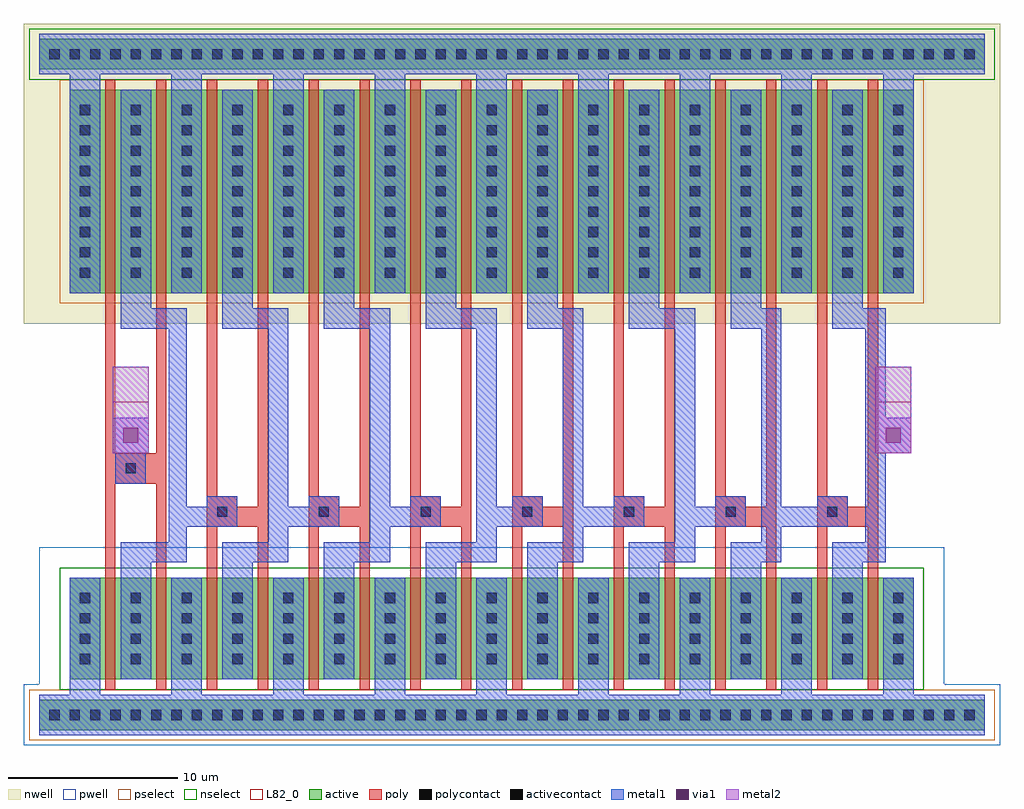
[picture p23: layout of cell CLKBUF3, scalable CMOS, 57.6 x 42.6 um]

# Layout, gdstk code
import gdstk
lib = gdstk.Library(unit=1e-6, precision=1e-09)
def R(c, l, rs):  # rectangles x0, y0, x1, y1
    for r in rs: c.add(gdstk.rectangle(r[:2], r[2:], *l))
def A(c, l, x, y, w, h, nx, ny, dx, dy):  # array of equal rectangles
    R(c, l, [(x+i*dx, y+j*dy, x+i*dx+w, y+j*dy+h) for i in range(nx) for j in range(ny)])
pwell = (41, 0)
nwell = (42, 0)
active = (43, 0)
pselect = (44, 0)
nselect = (45, 0)
poly = (46, 0)
polycontact = (47, 0)
activecontact = (48, 0)
metal1 = (49, 0)
via1 = (50, 0)
metal2 = (51, 0)
L82_0 = (82, 0)

clkbuf3 = lib.new_cell('CLKBUF3')
R(clkbuf3, pwell, [(-1.8,-1.8,55.8,1.8), (-0.9,1.8,52.5,9.9)])
R(clkbuf3, nwell, [(-1.8,23.1,55.8,40.8)])
R(clkbuf3, active, [(-0.9,-0.9,54.9,0.9), (0.9,2.1,50.7,8.1), (0.9,24.9,50.7,36.9), (-0.9,38.1,54.9,39.9)])
R(clkbuf3, pselect, [(-1.5,-1.5,55.5,1.5), (0.3,24.3,51.3,37.5)])
R(clkbuf3, nselect, [(0.3,1.5,51.3,8.7), (-1.5,37.5,55.5,40.5)])
A(clkbuf3, poly, 9, 1.5, 0.6, 9.6, 14, 1, 3, 0)
A(clkbuf3, poly, 9, 11.1, 3.6, 1.2, 7, 1, 6, 0)
A(clkbuf3, poly, 9, 12.3, 1.8, 0.6, 7, 1, 6, 0)
A(clkbuf3, poly, 12, 12.3, 0.6, 25.2, 7, 1, 6, 0)
A(clkbuf3, poly, 9, 12.9, 0.6, 24.6, 7, 1, 6, 0)
R(clkbuf3, poly, [(3,1.5,3.6,13.65), (6,1.5,6.6,13.65), (3,13.65,6.6,15.45), (3,15.45,3.6,37.5), (6,15.45,6.6,37.5)])
A(clkbuf3, polycontact, 9.6, 11.7, 0.6, 0.6, 7, 1, 6, 0)
R(clkbuf3, polycontact, [(4.2,14.25,4.8,14.85)])
A(clkbuf3, activecontact, -0.3, -0.3, 0.6, 0.6, 46, 2, 1.2, 39)
A(clkbuf3, activecontact, 1.5, 3, 0.6, 0.6, 17, 4, 3, 1.2)
A(clkbuf3, activecontact, 1.5, 25.8, 0.6, 0.6, 17, 9, 3, 1.2)
A(clkbuf3, metal1, 0.9, 1.2, 1.8, 6.9, 9, 1, 6, 0)
A(clkbuf3, metal1, 3.9, 2.1, 1.8, 6.9, 8, 1, 6, 0)
A(clkbuf3, metal1, 3.9, 9, 3.9, 1.2, 3, 2, 6, 13.8)
A(clkbuf3, metal1, 9, 12.3, 1.8, 0.6, 7, 1, 6, 0)
A(clkbuf3, metal1, 3.9, 24, 1.8, 12.9, 8, 1, 6, 0)
A(clkbuf3, metal1, 0.9, 24.9, 1.8, 12.9, 9, 1, 6, 0)
R(clkbuf3, metal1, [(-0.9,-1.2,54.9,1.2), (21.9,9,26.1,10.2), (27.9,9,31.2,10.2), (33.9,9,37.8,10.2), (39.9,9,42.9,10.2), (45.9,9,49.05,10.2), (6.75,10.2,7.8,11.1), (12.6,10.2,13.8,11.1), (18.6,10.2,19.8,11.1), (24.9,10.2,26.1,11.1), (30,10.2,31.2,11.1), (36.6,10.2,37.8,11.1), (41.7,10.2,42.9,11.1), (47.85,10.2,49.05,15.45), (6.75,11.1,10.8,12.3), (12.6,11.1,16.8,12.3), (18.6,11.1,22.8,12.3), (24.9,11.1,28.8,12.3), (30,11.1,34.8,12.3), (36.6,11.1,40.8,12.3), (41.7,11.1,46.8,12.3), (6.75,12.3,7.8,22.8), (12.6,12.3,13.8,22.8), (18.6,12.3,19.8,22.8), (24.9,12.3,26.1,22.8), (30,12.3,31.2,22.8), (36.6,12.3,37.8,22.8), (41.7,12.3,42.9,22.8), (3.6,13.65,5.4,15.45), (3.45,15.45,5.55,17.55), (47.85,15.45,50.55,17.55), (47.85,17.55,49.05,22.8), (21.9,22.8,26.1,24), (27.9,22.8,31.2,24), (33.9,22.8,37.8,24), (39.9,22.8,42.9,24), (45.9,22.8,49.05,24), (-0.9,37.8,54.9,40.2)])
R(clkbuf3, via1, [(4.05,16.05,4.95,16.95), (49.05,16.05,49.95,16.95)])
R(clkbuf3, metal2, [(3.45,15.45,5.55,20.55), (48.45,15.45,50.55,20.55)])
R(clkbuf3, L82_0, [(3.45,18.45,5.55,20.55), (48.45,18.45,50.55,20.55)])

lib.write_gds('CLKBUF3.gds')
